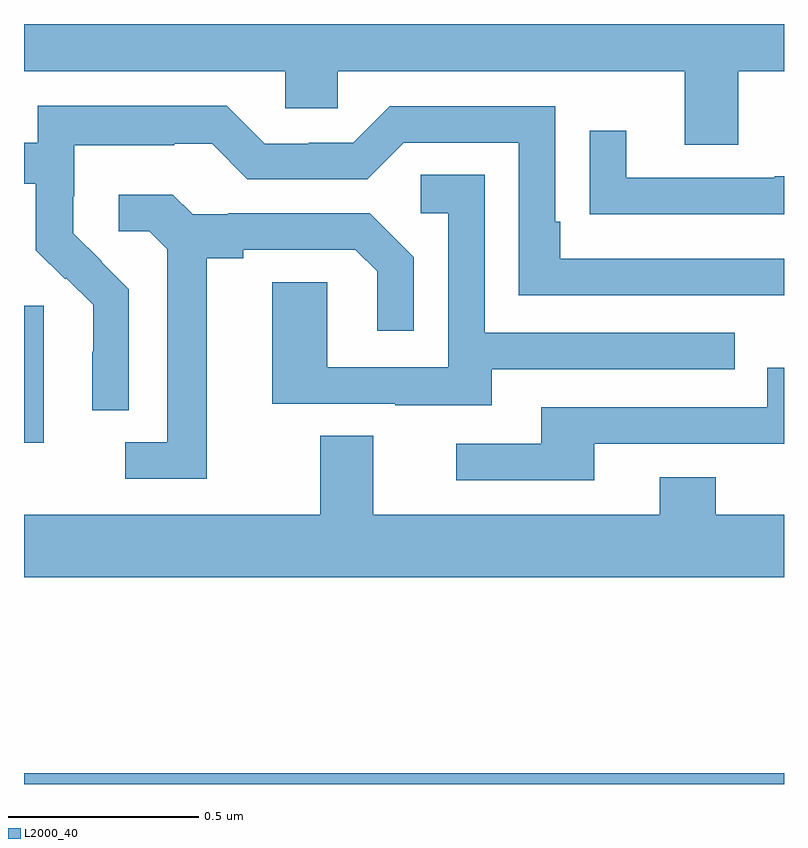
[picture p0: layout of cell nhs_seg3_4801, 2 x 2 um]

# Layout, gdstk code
import gdstk
lib = gdstk.Library(unit=1e-6, precision=1e-09)
def R(c, l, rs):  # rectangles x0, y0, x1, y1
    for r in rs: c.add(gdstk.rectangle(r[:2], r[2:], *l))
def P(c, l, *ps):  # polygons
    for p in ps: c.add(gdstk.Polygon(p, *l))
L2000_40 = (2000, 40)

nhs_seg3_4801 = lib.new_cell('nhs_seg3_4801')
R(nhs_seg3_4801, L2000_40, [(171,672.4,173,672.428), (171,673.298,171.052,673.659)])
P(nhs_seg3_4801, L2000_40, [(172.879,674.276),(173,674.276),(173,674.4),(171,674.4),(171,674.276),(171.687,674.276),(171.687,674.178),(171.825,674.178),(171.825,674.276),(172.739,674.276),(172.739,674.082),(172.879,674.082)],
  [(171.276,673.702),(171.203,673.775),(171.204,673.776),(171.13,673.85),(171.13,673.947),(171.132,673.947),(171.132,674.081),(171.395,674.081),(171.395,674.085),(171.495,674.085),(171.588,673.992),(171.903,673.992),(171.999,674.088),(172.302,674.088),(172.302,673.686),(173,673.686),(173,673.782),(172.411,673.782),(172.411,673.879),(172.398,673.879),(172.398,674.184),(171.963,674.184),(171.867,674.088),(171.749,674.088),(171.749,674.085),(171.633,674.085),(171.533,674.185),(171.036,674.185),(171.036,674.088),(171,674.088),(171,673.98),(171.031,673.98),(171.031,673.805),(171.108,673.728),(171.111,673.731),(171.182,673.661),(171.182,673.538),(171.18,673.538),(171.18,673.384),(171.276,673.384)],
  [(173,674),(172.975,674),(172.975,673.995),(172.585,673.995),(172.585,674.119),(172.489,674.119),(172.489,673.9),(172.591,673.9),(172.591,673.899),(173,673.899)],
  [(172.231,673.491),(172.871,673.491),(172.871,673.587),(172.212,673.587),(172.212,674.003),(172.044,674.003),(172.044,673.902),(172.116,673.902),(172.116,673.497),(171.798,673.497),(171.798,673.721),(171.653,673.721),(171.653,673.401),(171.977,673.401),(171.977,673.397),(172.231,673.397)],
  [(171.481,673.784),(171.577,673.784),(171.577,673.806),(171.872,673.806),(171.929,673.749),(171.929,673.593),(172.026,673.593),(172.026,673.786),(171.91,673.902),(171.538,673.902),(171.538,673.899),(171.444,673.899),(171.392,673.951),(171.249,673.951),(171.249,673.854),(171.33,673.854),(171.377,673.807),(171.377,673.299),(171.267,673.299),(171.267,673.203),(171.481,673.203)],
  [(172.501,673.296),(173,673.296),(173,673.495),(172.956,673.495),(172.956,673.392),(172.361,673.392),(172.361,673.296),(172.137,673.296),(172.137,673.2),(172.501,673.2)],
  [(173,673.108),(172.821,673.108),(172.821,673.207),(172.673,673.207),(172.673,673.108),(171.919,673.108),(171.919,673.316),(171.779,673.316),(171.779,673.108),(171,673.108),(171,672.944),(173,672.944)])

lib.write_gds('nhs_seg3_4801.gds')
